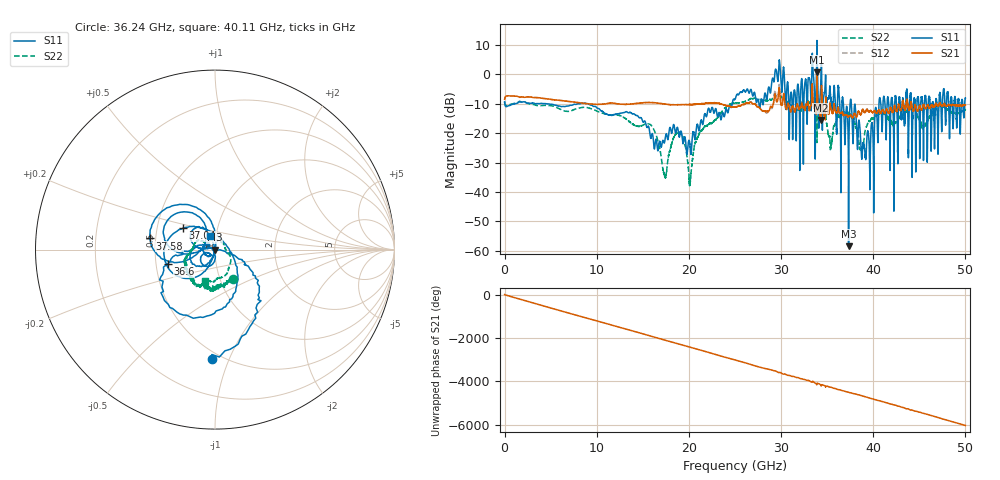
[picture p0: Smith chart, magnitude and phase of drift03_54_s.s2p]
!Created with skrf (http://scikit-rf.org).
# Hz S RI R 50.0
!freq ReS11 ImS11 ReS21 ImS21 ReS12 ImS12 ReS22 ImS22
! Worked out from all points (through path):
!   10001 points, 300 kHz to 50 GHz, reference 50 ohm
!   highest |S21| = 0.73 dB at 33.9 GHz (marker M1); lowest = -15.5 dB at 34.32 GHz (marker M2)
!   group delay of S21, straight-line fit = 335 ps
!   lowest |S11| = -58.5 dB at 37.33 GHz (marker M3), VSWR 1.00, Z = 49.9 - j0.0293 ohm
!   |S11| at or under -10 dB: 4.471 GHz to 8.185 GHz (3.714 GHz wide, 58.7 % of centre); 9.019 GHz to 24.7 GHz (15.68 GHz wide, 93 % of centre); 37.62 GHz to 40.62 GHz (3 GHz wide, 7.67 % of centre) (the widest 3 of 57)
!   |S22| runs from -37.9 to -5.9 dB; largest |S21 - S12| = 0.11
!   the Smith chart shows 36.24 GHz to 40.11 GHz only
!   S11 on the Smith chart (normalised r, x): 36.24 GHz: 0.45, -0.87; 36.6 GHz: 0.58, -0.10; 37.04 GHz: 0.68, +0.17; 37.58 GHz: 0.46, +0.07; 40.11 GHz: 0.93, +0.15
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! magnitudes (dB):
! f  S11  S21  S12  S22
! 300 kHz  -9.4  -8.5  -8.5  -9.3
! 8.335 GHz  -9.9  -9.8  -9.8  -11.3
! 16.67 GHz  -25.5  -9.8  -9.8  -23.2
! 17.39 GHz  -22.6  -10.1  -10.1  -34.8
! 19.08 GHz  -19.7  -10.3  -10.3  -20.1
! 20.13 GHz  -24.7  -10.3  -10.3  -36.8
! 21.21 GHz  -17.2  -10.1  -10.1  -19.8
! 25 GHz  -8.5  -11.1  -11.1  -9.8
! 31.08 GHz  -6.1  -12.7  -12.7  -10.5
! 33.34 GHz  0.1  -7.5  -7.6  -9.3
! 33.9 GHz  11.5  0.7  0.3  -23.2
! 34.32 GHz  -2.9  -15.5  -14.9  -11.2
! 35.34 GHz  -5.9  -10.4  -9.8  -24.7
! 36.24 GHz  -4.3  -11.7  -11.6  -14.3
! 36.6 GHz  -11.2  -12.9  -13.0  -13.4
! 37.04 GHz  -13.4  -13.9  -14.0  -14.1
! 37.33 GHz  -58.5  -14.4  -14.5  -13.7
! 37.58 GHz  -8.7  -13.9  -13.8  -14.0
! 38.71 GHz  -26.5  -13.4  -13.3  -25.5
! 40.11 GHz  -21.6  -12.5  -12.6  -14.8
! 41.67 GHz  -9.5  -13.3  -13.2  -15.0
! 50 GHz  -8.0  -10.5  -10.6  -12.2
